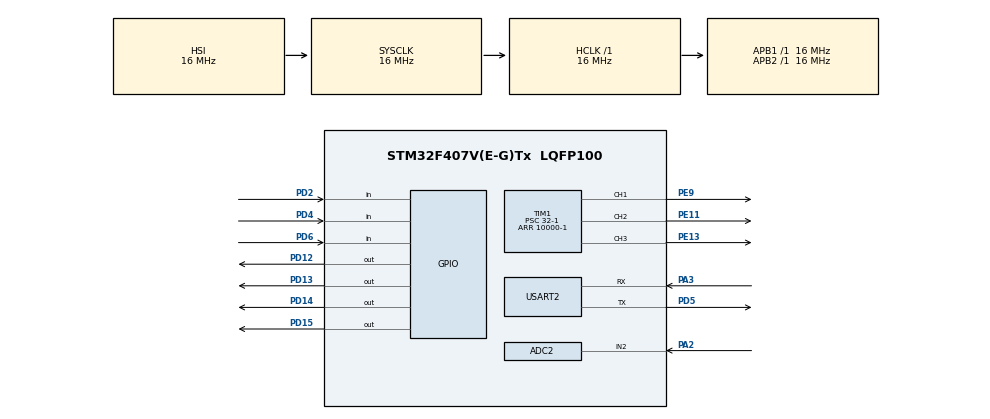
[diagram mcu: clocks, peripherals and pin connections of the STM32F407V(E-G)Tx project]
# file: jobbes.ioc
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ADC2.Channel-0\#ChannelRegularConversion=ADC_CHANNEL_2
ADC2.ContinuousConvMode=ENABLE
ADC2.NbrOfConversionFlag=1
ADC2.Rank-0\#ChannelRegularConversion=1
ADC2.SamplingTime-0\#ChannelRegularConversion=ADC_SAMPLETIME_3CYCLES
Mcu.Family=STM32F4
Mcu.Name=STM32F407V(E-G)Tx
Mcu.Package=LQFP100
NVIC.PriorityGroup=NVIC_PRIORITYGROUP_4
PA13.Mode=Serial_Wire
PA13.Signal=SYS_JTMS-SWDIO
PA14.Mode=Serial_Wire
PA14.Signal=SYS_JTCK-SWCLK
PA2.Signal=ADCx_IN2
PA3.Mode=Asynchronous
PA3.Signal=USART2_RX
PD12.Signal=GPIO_Output
PD13.Signal=GPIO_Output
PD14.Signal=GPIO_Output
PD15.Signal=GPIO_Output
PD2.Signal=GPIO_Input
PD4.Signal=GPIO_Input
PD5.Mode=Asynchronous
PD5.Signal=USART2_TX
PD6.Signal=GPIO_Input
PE11.Signal=S_TIM1_CH2
PE13.Signal=S_TIM1_CH3
PE9.Signal=S_TIM1_CH1
ProjectManager.HeapSize=0x200
ProjectManager.StackSize=0x400
ProjectManager.TargetToolchain=STM32CubeIDE
RCC.AHBFreq_Value=16000000
RCC.APB1Freq_Value=16000000
RCC.APB2Freq_Value=16000000
RCC.CortexFreq_Value=16000000
RCC.HSE_VALUE=25000000
RCC.HSI_VALUE=16000000
RCC.LSE_VALUE=32768
RCC.SYSCLKFreq_VALUE=16000000
RCC.VCOOutputFreq_Value=192000000
SH.ADCx_IN2.0=ADC2_IN2,IN2
SH.S_TIM1_CH1.0=TIM1_CH1,PWM Generation1 CH1
SH.S_TIM1_CH2.0=TIM1_CH2,PWM Generation2 CH2
SH.S_TIM1_CH3.0=TIM1_CH3,PWM Generation3 CH3
TIM1.Channel-PWM\ Generation1\ CH1=TIM_CHANNEL_1
TIM1.Channel-PWM\ Generation2\ CH2=TIM_CHANNEL_2
TIM1.Channel-PWM\ Generation3\ CH3=TIM_CHANNEL_3
TIM1.Period=10000-1
TIM1.Prescaler=32-1
USART2.VirtualMode=VM_ASYNC
VP_TIM1_VS_ClockSourceINT.Mode=Internal
board=custom

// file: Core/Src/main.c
/* USER CODE BEGIN Header */
/**
  ******************************************************************************
  * @file           : main.c
  * @brief          : Main program body
  ******************************************************************************
  * @attention
  *
  * Copyright (c) 2024 STMicroelectronics.
  * All rights reserved.
  *
  * This software is licensed under terms that can be found in the LICENSE file
  * in the root directory of this software component.
  * If no LICENSE file comes with this software, it is provided AS-IS.
  *
  ******************************************************************************
  */
/* USER CODE END Header */
#include "main.h"

/* USER CODE BEGIN Includes */
#include <stdio.h>
#include <string.h>
/* USER CODE END Includes */

ADC_HandleTypeDef hadc2;

TIM_HandleTypeDef htim1;

UART_HandleTypeDef huart2;

/* USER CODE BEGIN PV */
char msg[20];
/* USER CODE END PV */

void SystemClock_Config(void);
static void MX_GPIO_Init(void);
static void MX_TIM1_Init(void);
static void MX_USART2_UART_Init(void);
static void MX_ADC2_Init(void);

/* USER CODE BEGIN 0 */
uint16_t readValue, bit0, bit1, bit2, combine;
uint16_t PanR, PanL, TiltU, TiltD, TogRec;
uint16_t readValuePanR;
uint16_t readValuePanL;
uint16_t PWMVal_Pan, PWMVal_Tilt, PWMVal_Rec;
uint16_t counter, recFlag, toggleFlag;

/* USER CODE END 0 */

int main(void)
{

  /* MCU Configuration--------------------------------------------------------*/

  /* Reset of all peripherals, Initializes the Flash interface and the Systick. */
  HAL_Init();

  /* Configure the system clock */
  SystemClock_Config();

  /* Initialize all configured peripherals */
  MX_GPIO_Init();
  MX_TIM1_Init();
  MX_USART2_UART_Init();
  MX_ADC2_Init();
  /* USER CODE BEGIN 2 */
  //HAL_ADC_Start(&hadc2);
  HAL_TIM_PWM_Start(&htim1, TIM_CHANNEL_1);
  HAL_TIM_PWM_Start(&htim1, TIM_CHANNEL_2);
  HAL_TIM_PWM_Start(&htim1, TIM_CHANNEL_3);
  PWMVal_Pan = 730;
  PWMVal_Tilt = 750;
  PWMVal_Rec = 500;
  htim1.Instance->CCR1 = PWMVal_Pan;
  htim1.Instance->CCR2 = PWMVal_Tilt;
  htim1.Instance->CCR3 = PWMVal_Rec;
  HAL_Delay(500);
  recFlag = 0;
  counter = 0;
  toggleFlag = 0;
  /* USER CODE END 2 */

  /* Infinite loop */
  while (1)
  {

    /* USER CODE BEGIN 3 */
    // using 16MHz clock, prescaled by /32, auto-load register counts to 10000
    // effectively 50Hz pwm, 20ms period. 0.5ms - 2.5ms is our range for servo
    //HAL_ADC_Start(&hadc2); //this needs to be run before every poll
    //HAL_ADC_PollForConversion(&hadc2, 20);
    //readValue = HAL_ADC_GetValue(&hadc2);
    bit0 = HAL_GPIO_ReadPin(GPIOD, GPIO_PIN_2);
    bit1 = HAL_GPIO_ReadPin(GPIOD, GPIO_PIN_4);
    bit2 = HAL_GPIO_ReadPin(GPIOD, GPIO_PIN_6);
    combine = ((0b000 | bit0) | (bit1 << 1)) | (bit2 << 2);
    switch (combine) {

      case 1: // Closed Fist
      {
        if (PWMVal_Pan > 250) PWMVal_Pan = PWMVal_Pan - 7;
        toggleFlag = 0;
        htim1.Instance->CCR1 = PWMVal_Pan;
//        HAL_Delay(70);
//        HAL_Delay(10);
      }
      break;

      case 2: // Open Palm
      {
        if (PWMVal_Pan < 1250) PWMVal_Pan = PWMVal_Pan + 7;
        toggleFlag = 0;
        htim1.Instance->CCR1 = PWMVal_Pan;
//        HAL_Delay(70);
//        HAL_Delay(10);
      }
      break;

      case 3: // Thumb_Up
      {
        if (PWMVal_Tilt < 1000) PWMVal_Tilt = PWMVal_Tilt + 7;
        toggleFlag = 0;
        htim1.Instance->CCR2 = PWMVal_Tilt;
//        HAL_Delay(30);
      }
      break;

      case 4: // Thumb_Down
      {
        if (PWMVal_Tilt > 500) PWMVal_Tilt = PWMVal_Tilt - 7;
        toggleFlag = 0;
        htim1.Instance->CCR2 = PWMVal_Tilt;
//        HAL_Delay(30);
      }
      break;

      case 5: // Victory
      {
        if ((recFlag == 0) && (toggleFlag == 0)) {
          toggleFlag = 1;
          counter = 0;
          recFlag = 1;
          break;
        } else if (((toggleFlag == 1) == recFlag) && (counter >= 1000)) {
            PWMVal_Rec = 250;
            htim1.Instance->CCR3 = PWMVal_Rec;
            HAL_Delay(500);
            PWMVal_Rec = 500;
            htim1.Instance->CCR3 = PWMVal_Rec;
            //toggleFlag = 0;
            recFlag = 0;
          }
      }
      break;
//      case 6: // ILoveYou
//        if (PWMVal_Tilt < 1250) PWMVal_Tilt = PWMVal_Tilt + 1;
//        break;
//      case 7: // Pointing_Up
//        if (PWMVal_Tilt < 1250) PWMVal_Tilt = PWMVal_Tilt + 1;
//        break;
      default:
      {
        toggleFlag = 0;
        recFlag = 0;
        //counter = 0;
      }

    }

//    if (readValuePanR && PWMVal > 250) {
//
//      PWMVal = PWMVal - 1;//(((double)readValue/4096) * 1000);
//    }
//    if (readValuePanL && PWMVal < 1250) {
//      PWMVal = PWMVal + 1;//(((double)readValue/4096) * 1000);
//    }
    //PWMVal = 250 + (((double)readValue/4096) * 1000); // range from 250 to 1250
//    htim1.Instance->CCR1 = PWMVal_Pan;
//    htim1.Instance->CCR2 = PWMVal_Tilt;
//    htim1.Instance->CCR3 = PWMVal_Rec;

    HAL_Delay(70);
//    htim1.Instance->CCR1 = 0;
//    htim1.Instance->CCR2 = 0;
//    htim1.Instance->CCR3 = 0;
//    HAL_Delay(5);
    if (recFlag == 1) counter += 70;
    //HAL_GPIO_WritePin(GPIOD, GPIO_PIN_12|GPIO_PIN_13|GPIO_PIN_14|GPIO_PIN_15, 1);
  }
  /* USER CODE END 3 */
}

void SystemClock_Config(void)
{
  RCC_OscInitTypeDef RCC_OscInitStruct = {0};
  RCC_ClkInitTypeDef RCC_ClkInitStruct = {0};

  /** Configure the main internal regulator output voltage
  */
  __HAL_RCC_PWR_CLK_ENABLE();
  __HAL_PWR_VOLTAGESCALING_CONFIG(PWR_REGULATOR_VOLTAGE_SCALE1);

  /** Initializes the RCC Oscillators according to the specified parameters
  * in the RCC_OscInitTypeDef structure.
  */
  RCC_OscInitStruct.OscillatorType = RCC_OSCILLATORTYPE_HSI;
  RCC_OscInitStruct.HSIState = RCC_HSI_ON;
  RCC_OscInitStruct.HSICalibrationValue = RCC_HSICALIBRATION_DEFAULT;
  RCC_OscInitStruct.PLL.PLLState = RCC_PLL_NONE;
  if (HAL_RCC_OscConfig(&RCC_OscInitStruct) != HAL_OK)
  {
    Error_Handler();
  }

  /** Initializes the CPU, AHB and APB buses clocks
  */
  RCC_ClkInitStruct.ClockType = RCC_CLOCKTYPE_HCLK|RCC_CLOCKTYPE_SYSCLK
                              |RCC_CLOCKTYPE_PCLK1|RCC_CLOCKTYPE_PCLK2;
  RCC_ClkInitStruct.SYSCLKSource = RCC_SYSCLKSOURCE_HSI;
  RCC_ClkInitStruct.AHBCLKDivider = RCC_SYSCLK_DIV1;
  RCC_ClkInitStruct.APB1CLKDivider = RCC_HCLK_DIV1;
  RCC_ClkInitStruct.APB2CLKDivider = RCC_HCLK_DIV1;

  if (HAL_RCC_ClockConfig(&RCC_ClkInitStruct, FLASH_LATENCY_0) != HAL_OK)
  {
    Error_Handler();
  }
}

static void MX_ADC2_Init(void)
{

  ADC_ChannelConfTypeDef sConfig = {0};

  /** Configure the global features of the ADC (Clock, Resolution, Data Alignment and number of conversion)
  */
  hadc2.Instance = ADC2;
  hadc2.Init.ClockPrescaler = ADC_CLOCK_SYNC_PCLK_DIV2;
  hadc2.Init.Resolution = ADC_RESOLUTION_12B;
  hadc2.Init.ScanConvMode = DISABLE;
  hadc2.Init.ContinuousConvMode = ENABLE;
  hadc2.Init.DiscontinuousConvMode = DISABLE;
  hadc2.Init.ExternalTrigConvEdge = ADC_EXTERNALTRIGCONVEDGE_NONE;
  hadc2.Init.ExternalTrigConv = ADC_SOFTWARE_START;
  hadc2.Init.DataAlign = ADC_DATAALIGN_RIGHT;
  hadc2.Init.NbrOfConversion = 1;
  hadc2.Init.DMAContinuousRequests = DISABLE;
  hadc2.Init.EOCSelection = ADC_EOC_SINGLE_CONV;
  if (HAL_ADC_Init(&hadc2) != HAL_OK)
  {
    Error_Handler();
  }

  /** Configure for the selected ADC regular channel its corresponding rank in the sequencer and its sample time.
  */
  sConfig.Channel = ADC_CHANNEL_2;
  sConfig.Rank = 1;
  sConfig.SamplingTime = ADC_SAMPLETIME_3CYCLES;
  if (HAL_ADC_ConfigChannel(&hadc2, &sConfig) != HAL_OK)
  {
    Error_Handler();
  }

}

static void MX_TIM1_Init(void)
{

  TIM_ClockConfigTypeDef sClockSourceConfig = {0};
  TIM_MasterConfigTypeDef sMasterConfig = {0};
  TIM_OC_InitTypeDef sConfigOC = {0};
  TIM_BreakDeadTimeConfigTypeDef sBreakDeadTimeConfig = {0};

  htim1.Instance = TIM1;
  htim1.Init.Prescaler = 32-1;
  htim1.Init.CounterMode = TIM_COUNTERMODE_UP;
  htim1.Init.Period = 10000-1;
  htim1.Init.ClockDivision = TIM_CLOCKDIVISION_DIV1;
  htim1.Init.RepetitionCounter = 0;
  htim1.Init.AutoReloadPreload = TIM_AUTORELOAD_PRELOAD_DISABLE;
  if (HAL_TIM_Base_Init(&htim1) != HAL_OK)
  {
    Error_Handler();
  }
  sClockSourceConfig.ClockSource = TIM_CLOCKSOURCE_INTERNAL;
  if (HAL_TIM_ConfigClockSource(&htim1, &sClockSourceConfig) != HAL_OK)
  {
    Error_Handler();
  }
  if (HAL_TIM_PWM_Init(&htim1) != HAL_OK)
  {
    Error_Handler();
  }
  sMasterConfig.MasterOutputTrigger = TIM_TRGO_RESET;
  sMasterConfig.MasterSlaveMode = TIM_MASTERSLAVEMODE_DISABLE;
  if (HAL_TIMEx_MasterConfigSynchronization(&htim1, &sMasterConfig) != HAL_OK)
  {
    Error_Handler();
  }
  sConfigOC.OCMode = TIM_OCMODE_PWM1;
  sConfigOC.Pulse = 0;
  sConfigOC.OCPolarity = TIM_OCPOLARITY_HIGH;
  sConfigOC.OCNPolarity = TIM_OCNPOLARITY_HIGH;
  sConfigOC.OCFastMode = TIM_OCFAST_DISABLE;
  sConfigOC.OCIdleState = TIM_OCIDLESTATE_RESET;
  sConfigOC.OCNIdleState = TIM_OCNIDLESTATE_RESET;
  if (HAL_TIM_PWM_ConfigChannel(&htim1, &sConfigOC, TIM_CHANNEL_1) != HAL_OK)
  {
    Error_Handler();
  }
  if (HAL_TIM_PWM_ConfigChannel(&htim1, &sConfigOC, TIM_CHANNEL_2) != HAL_OK)
  {
    Error_Handler();
  }
  if (HAL_TIM_PWM_ConfigChannel(&htim1, &sConfigOC, TIM_CHANNEL_3) != HAL_OK)
  {
    Error_Handler();
  }
  sBreakDeadTimeConfig.OffStateRunMode = TIM_OSSR_DISABLE;
  sBreakDeadTimeConfig.OffStateIDLEMode = TIM_OSSI_DISABLE;
  sBreakDeadTimeConfig.LockLevel = TIM_LOCKLEVEL_OFF;
  sBreakDeadTimeConfig.DeadTime = 0;
  sBreakDeadTimeConfig.BreakState = TIM_BREAK_DISABLE;
  sBreakDeadTimeConfig.BreakPolarity = TIM_BREAKPOLARITY_HIGH;
  sBreakDeadTimeConfig.AutomaticOutput = TIM_AUTOMATICOUTPUT_DISABLE;
  if (HAL_TIMEx_ConfigBreakDeadTime(&htim1, &sBreakDeadTimeConfig) != HAL_OK)
  {
    Error_Handler();
  }
  HAL_TIM_MspPostInit(&htim1);

}

static void MX_USART2_UART_Init(void)
{

  huart2.Instance = USART2;
  huart2.Init.BaudRate = 115200;
  huart2.Init.WordLength = UART_WORDLENGTH_8B;
  huart2.Init.StopBits = UART_STOPBITS_1;
  huart2.Init.Parity = UART_PARITY_NONE;
  huart2.Init.Mode = UART_MODE_TX_RX;
  huart2.Init.HwFlowCtl = UART_HWCONTROL_NONE;
  huart2.Init.OverSampling = UART_OVERSAMPLING_16;
  if (HAL_UART_Init(&huart2) != HAL_OK)
  {
    Error_Handler();
  }

}

static void MX_GPIO_Init(void)
{
  GPIO_InitTypeDef GPIO_InitStruct = {0};

  /* GPIO Ports Clock Enable */
  __HAL_RCC_GPIOA_CLK_ENABLE();
  __HAL_RCC_GPIOE_CLK_ENABLE();
  __HAL_RCC_GPIOD_CLK_ENABLE();

  /*Configure GPIO pin Output Level */
  HAL_GPIO_WritePin(GPIOD, GPIO_PIN_12|GPIO_PIN_13|GPIO_PIN_14|GPIO_PIN_15, GPIO_PIN_RESET);

  /*Configure GPIO pins : PD12 PD13 PD14 PD15 */
  GPIO_InitStruct.Pin = GPIO_PIN_12|GPIO_PIN_13|GPIO_PIN_14|GPIO_PIN_15;
  GPIO_InitStruct.Mode = GPIO_MODE_OUTPUT_PP;
  GPIO_InitStruct.Pull = GPIO_NOPULL;
  GPIO_InitStruct.Speed = GPIO_SPEED_FREQ_LOW;
  HAL_GPIO_Init(GPIOD, &GPIO_InitStruct);

  /*Configure GPIO pins : PD2 PD4 PD6 */
  GPIO_InitStruct.Pin = GPIO_PIN_2|GPIO_PIN_4|GPIO_PIN_6;
  GPIO_InitStruct.Mode = GPIO_MODE_INPUT;
  GPIO_InitStruct.Pull = GPIO_NOPULL;
  HAL_GPIO_Init(GPIOD, &GPIO_InitStruct);

}

void Error_Handler(void)
{
  __disable_irq();
  while (1)
  {
  }
}
